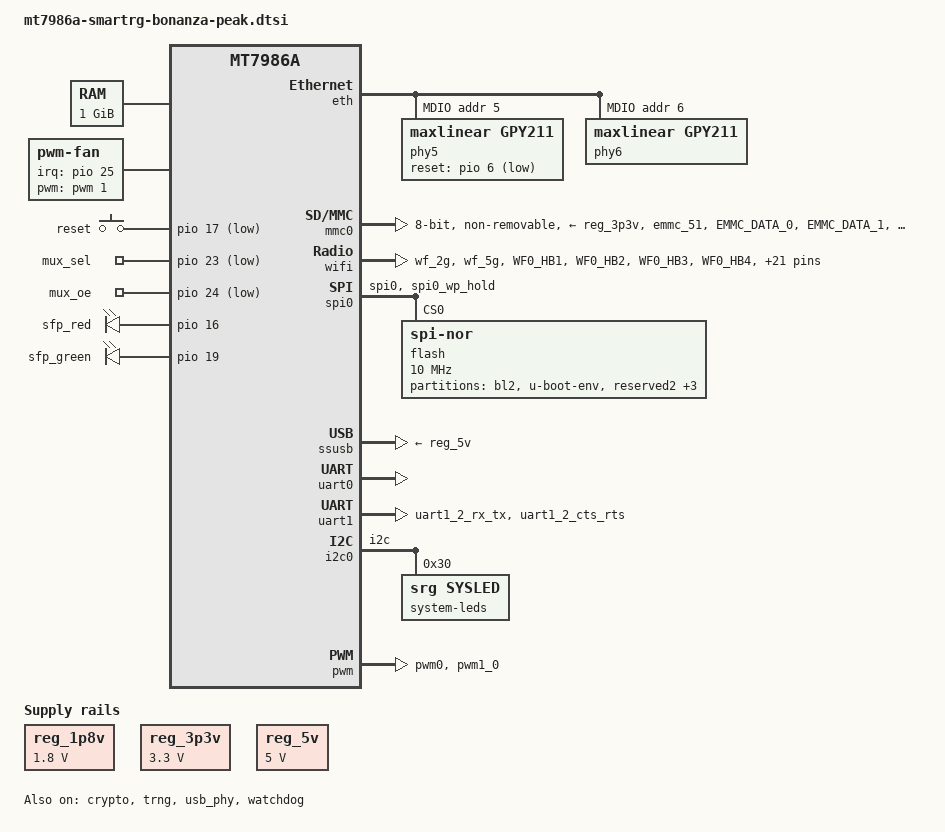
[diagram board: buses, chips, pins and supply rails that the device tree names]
// SPDX-License-Identifier: (GPL-2.0 OR MIT)
/*
 * Copyright (C) 2022 SmartRG Inc.
 * Author: Chad Monroe <chad.monroe@smartrg.com>
 */

/dts-v1/;
#include <dt-bindings/input/input.h>
#include <dt-bindings/gpio/gpio.h>

#include "mt7986a.dtsi"

/ {
	aliases {
		serial0 = &uart0;
		ethernet0 = &gmac0;
		ethernet1 = &gmac1;
		led-boot = &sys_status;
		led-failsafe = &sys_status;
		led-running = &sys_status;
		led-upgrade = &sys_status;
	};

	chosen {
		stdout-path = "serial0:115200n8";
	};

	memory@40000000 {
		device_type = "memory";
		reg = <0 0x40000000 0 0x40000000>;
	};

	reserved-memory {
		#address-cells = <2>;
		#size-cells = <2>;
		ranges;

		/delete-node/ramoops@42ff0000;

		bootdata_reserved: bootdata@45000000 {
			no-map;
			reg = <0x0 0x45000000 0x0 0x00001000>;
		};

		ramoops_reserved: ramoops@45001000 {
			no-map;
			compatible = "ramoops";
			reg = <0x0 0x45001000 0x0 0x00140000>;
			ftrace-size = <0x20000>;
			record-size = <0x20000>;
			console-size = <0x20000>;
			pmsg-size = <0x80000>;
		};
	};

	bootdata {
		compatible = "bootdata";
		memory-region = <&bootdata_reserved>;
	};

	reg_1p8v: regulator-1p8v {
		compatible = "regulator-fixed";
		regulator-name = "fixed-1.8V";
		regulator-min-microvolt = <1800000>;
		regulator-max-microvolt = <1800000>;
		regulator-boot-on;
		regulator-always-on;
	};

	reg_3p3v: regulator-3p3v {
		compatible = "regulator-fixed";
		regulator-name = "fixed-3.3V";
		regulator-min-microvolt = <3300000>;
		regulator-max-microvolt = <3300000>;
		regulator-boot-on;
		regulator-always-on;
	};

	reg_5v: regulator-5v {
		compatible = "regulator-fixed";
		regulator-name = "fixed-5V";
		regulator-min-microvolt = <5000000>;
		regulator-max-microvolt = <5000000>;
		regulator-boot-on;
		regulator-always-on;
	};

	fan: pwm-fan {
		compatible = "pwm-fan";
		#cooling-cells = <2>;
		pwms = <&pwm 1 40000 0>;

		/**
		 * set fan speed
		 *
		 * 0 = off
		 * 51 = 20% duty cycle (minimum supported)
		 * 61 = 24% duty cycle (2020 RPM)
		 * 77 = 30% duty cycle (3000 RPM)
		 * 102 = 40% duty cycle (3600 RPM)
		 * 255 = 100% duty cycle
		 */
		cooling-levels = <51 61 77 102>;

		interrupt-parent = <&pio>;
		interrupts = <25 IRQ_TYPE_EDGE_FALLING>;
		pulses-per-revolution = <2>;

		status = "okay";
	};

	keys {
		compatible = "gpio-keys";

		reset {
			label = "reset";
			linux,code = <KEY_RESTART>;
			gpios = <&pio 17 GPIO_ACTIVE_LOW>;
		};
	};

	leds {
		compatible = "gpio-leds";

		mux_sel {
			label = "mux_sel";
			gpios = <&pio 23 GPIO_ACTIVE_LOW>;
			default-state = "on";
		};

		mux_oe {
			label = "mux_oe";
			gpios = <&pio 24 GPIO_ACTIVE_LOW>;
			default-state = "on";
		};

		sfp_red {
			label = "sfp_red";
			gpios = <&pio 16 GPIO_ACTIVE_HIGH>;
			default-state = "off";
		};

		sfp_green {
			label = "sfp_green";
			gpios = <&pio 19 GPIO_ACTIVE_HIGH>;
			default-state = "off";
		};
	};
};

&cpu_thermal {
	cooling-maps {
		cpu-active-high {
			/* active: set fan to cooling level 3 */
			cooling-device = <&fan 3 3>;
			trip = <&cpu_trip_active_high>;
		};

		cpu-active-medium {
			/* active: set fan to cooling level 2 */
			cooling-device = <&fan 2 2>;
			trip = <&cpu_trip_active_low>;
		};

		cpu-active-low {
			/* active: set fan to cooling level 1 */
			cooling-device = <&fan 1 1>;
			trip = <&cpu_trip_active_low>;
		};

		cpu-active-silent {
			/* active: set fan to cooling level 0 */
			cooling-device = <&fan 0 0>;
			trip = <&cpu_trip_active_silent>;
		};
	};

	trips {
		cpu_trip_active_high: active-high {
			temperature = <110000>;
			hysteresis = <2000>;
			type = "active";
		};

		cpu_trip_active_medium: active-medium {
			temperature = <80000>;
			hysteresis = <2000>;
			type = "active";
		};

		cpu_trip_active_low: active-low {
			temperature = <60000>;
			hysteresis = <2000>;
			type = "active";
		};

		cpu_trip_active_silent: active-silent {
			temperature = <40000>;
			hysteresis = <2000>;
			type = "active";
		};
	};
};

&crypto {
	status = "okay";
};

&eth {
	status = "okay";

	gmac0: mac@0 {
		compatible = "mediatek,eth-mac";
		reg = <0>;

		phy-mode = "2500base-x";

	/*	fixed-link {
			speed = <2500>;
			full-duplex;
			pause;
		}; */
	};

	gmac1: mac@1 {
		label = "wan";

		compatible = "mediatek,eth-mac";
		reg = <1>;

		phy-mode = "2500base-x";
	};

	mdio: mdio-bus {
		#address-cells = <1>;
		#size-cells = <0>;
	};
};

&mdio {
	phy5: ethernet-phy@5 {
		/* GPY211 */
		compatible = "maxlinear,gpy211", "ethernet-phy-ieee802.3-c45";
		reg = <5>;
		reset-assert-us = <100000>;
		reset-deassert-us = <100000>;
		reset-gpios = <&pio 6 GPIO_ACTIVE_LOW>;

		mxl,led-drive-vdd;
		mxl,led-config = <0x30 0x40 0x80 0x0>;
	};

	phy6: ethernet-phy@6 {
		/* GPY211 */
		compatible = "maxlinear,gpy211", "ethernet-phy-ieee802.3-c45";
		reg = <6>;

		mxl,led-drive-vdd;
		mxl,led-config = <0x30 0x40 0x80 0x0>;
	};
};

&crypto {
	status = "okay";
};

&mmc0 {
	pinctrl-names = "default", "state_uhs";
	pinctrl-0 = <&mmc0_pins_default>;
	pinctrl-1 = <&mmc0_pins_uhs>;
	bus-width = <8>;
	max-frequency = <200000000>;
	cap-mmc-highspeed;
	mmc-hs200-1_8v;
	mmc-hs400-1_8v;
	hs400-ds-delay = <0x14014>;
	vmmc-supply = <&reg_3p3v>;
	vqmmc-supply = <&reg_1p8v>;
	non-removable;
	no-sd;
	no-sdio;
	status = "okay";
};

&pcie {
	pinctrl-names = "default";
	pinctrl-0 = <&pcie_pins>;
	status = "disabled";
};

&pcie_phy {
	status = "disabled";
};

&wifi {
	status = "okay";
	pinctrl-names = "default";
	pinctrl-0 = <&wf_2g_5g_pins>;

	mediatek,eeprom-file-offset = <0x0>;
};

&pio {
	mmc0_pins_default: mmc0-pins {
		mux {
			function = "emmc";
			groups = "emmc_51";
		};
		conf-cmd-dat {
			pins = "EMMC_DATA_0", "EMMC_DATA_1", "EMMC_DATA_2",
			       "EMMC_DATA_3", "EMMC_DATA_4", "EMMC_DATA_5",
			       "EMMC_DATA_6", "EMMC_DATA_7", "EMMC_CMD";
			input-enable;
			drive-strength = <4>;
			mediatek,pull-up-adv = <1>;	/* pull-up 10K */
		};
		conf-clk {
			pins = "EMMC_CK";
			drive-strength = <6>;
			mediatek,pull-down-adv = <2>;	/* pull-down 50K */
		};
		conf-ds {
			pins = "EMMC_DSL";
			mediatek,pull-down-adv = <2>;	/* pull-down 50K */
		};
		conf-rst {
			pins = "EMMC_RSTB";
			drive-strength = <4>;
			mediatek,pull-up-adv = <1>;	/* pull-up 10K */
		};
	};

	mmc0_pins_uhs: mmc0-uhs-pins {
		mux {
			function = "emmc";
			groups = "emmc_51";
		};
		conf-cmd-dat {
			pins = "EMMC_DATA_0", "EMMC_DATA_1", "EMMC_DATA_2",
			       "EMMC_DATA_3", "EMMC_DATA_4", "EMMC_DATA_5",
			       "EMMC_DATA_6", "EMMC_DATA_7", "EMMC_CMD";
			input-enable;
			drive-strength = <4>;
			mediatek,pull-up-adv = <1>;	/* pull-up 10K */
		};
		conf-clk {
			pins = "EMMC_CK";
			drive-strength = <6>;
			mediatek,pull-down-adv = <2>;	/* pull-down 50K */
		};
		conf-ds {
			pins = "EMMC_DSL";
			mediatek,pull-down-adv = <2>;	/* pull-down 50K */
		};
		conf-rst {
			pins = "EMMC_RSTB";
			drive-strength = <4>;
			mediatek,pull-up-adv = <1>;	/* pull-up 10K */
		};
	};

	pcie_pins: pcie-pins {
		mux {
			function = "pcie";
			groups = "pcie_clk", "pcie_pereset";
		};
	};

	spi_flash_pins: spi-flash-pins {
		mux {
			function = "spi";
			groups = "spi0", "spi0_wp_hold";
		};
	};

	uart1_pins: uart1-pins {
		mux {
			function = "uart";
			groups = "uart1_2_rx_tx", "uart1_2_cts_rts";
		};
	};

	i2c0_pins: i2c0-pins {
		mux {
			function = "i2c";
			groups = "i2c";
		};
	};

	pwm_pins: pwm-pins {
		mux {
			function = "pwm";
			groups = "pwm0", "pwm1_0";
		};
	};

	wf_2g_5g_pins: wf-2g-5g-pins {
		mux {
			function = "wifi";
			groups = "wf_2g", "wf_5g";
		};
		conf {
			pins = "WF0_HB1", "WF0_HB2", "WF0_HB3", "WF0_HB4",
			       "WF0_HB0", "WF0_HB0_B", "WF0_HB5", "WF0_HB6",
			       "WF0_HB7", "WF0_HB8", "WF0_HB9", "WF0_HB10",
			       "WF0_TOP_CLK", "WF0_TOP_DATA", "WF1_HB1",
			       "WF1_HB2", "WF1_HB3", "WF1_HB4", "WF1_HB0",
			       "WF1_HB5", "WF1_HB6", "WF1_HB7", "WF1_HB8",
			       "WF1_TOP_CLK", "WF1_TOP_DATA";
			drive-strength = <4>;
		};
	};
};

&spi0 {
	pinctrl-names = "default";
	pinctrl-0 = <&spi_flash_pins>;
	status = "okay";

	flash@0 {
		compatible = "jedec,spi-nor";
		reg = <0>;
		spi-max-frequency = <10000000>;

		partitions {
			compatible = "fixed-partitions";
			#address-cells = <1>;
			#size-cells = <1>;

			partition@0 {
				label = "bl2";
				reg = <0x0 0x40000>;
				read-only;
			};

			partition@40000 {
				label = "u-boot-env";
				reg = <0x40000 0x40000>;
			};

			partition@80000 {
				label = "reserved2";
				reg = <0x80000 0x80000>;
			};

			partition@100000 {
				label = "fip";
				reg = <0x100000 0x80000>;
				read-only;
			};

			partition@180000 {
				label = "recovery";
				reg = <0x180000 0xa80000>;
			};

			partition@c00000 {
				label = "fit";
				reg = <0xc00000 0x1400000>;
				compatible = "denx,fit";
			};
		};
	};
};

&ssusb {
	vusb33-supply = <&reg_3p3v>;
	vbus-supply = <&reg_5v>;
	status = "okay";
};

&trng {
	status = "okay";
};

&uart0 {
	status = "okay";
};

&uart1 {
	pinctrl-names = "default";
	pinctrl-0 = <&uart1_pins>;
	status = "okay";

	/* DA14531MOD Bluetooth */
};

&usb_phy {
	status = "okay";
};

&i2c0 {
	pinctrl-names = "default";
	pinctrl-0 = <&i2c0_pins>;
	status = "okay";

	system-leds {
		compatible = "srg,sysled";
		reg = <0x30>;

		system_red {
			label = "red";
			reg = <1>;
		};

		sys_status: system_green {
			label = "green";
			reg = <2>;
			linux,default-trigger = "timer";
		};

		system_blue {
			label = "blue";
			reg = <3>;
		};

		system_white {
			label = "white";
			reg = <4>;
		};
	};
};

&pwm {
	pinctrl-names = "default";
	pinctrl-0 = <&pwm_pins>;
	status = "okay";
};

&watchdog {
	interrupts = <GIC_SPI 74 IRQ_TYPE_LEVEL_HIGH>;
	status = "okay";
};
